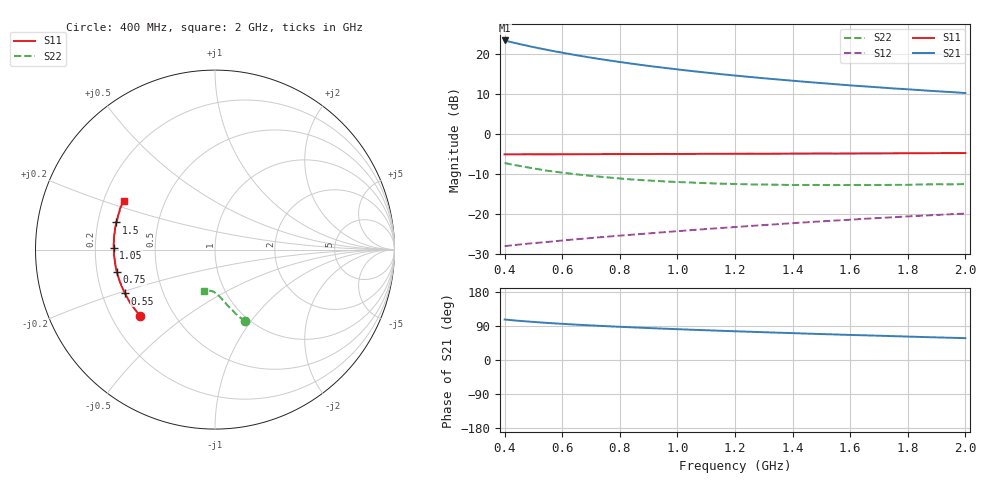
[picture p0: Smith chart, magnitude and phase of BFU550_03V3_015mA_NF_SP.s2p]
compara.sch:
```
<Qucs Schematic 0.0.20>
<Properties>
  <View=0,43,1907,815,1,0,60>
  <Grid=10,10,1>
  <DataSet=compara.dat>
  <DataDisplay=compara.dpl>
  <OpenDisplay=1>
  <Script=compara.m>
  <RunScript=0>
  <showFrame=0>
  <FrameText0=Título>
  <FrameText1=Dibujado por:>
  <FrameText2=Fecha:>
  <FrameText3=Revisión:>
</Properties>
<Symbol>
</Symbol>
<Components>
  <.DC DC1 1 60 310 0 39 0 0 "26.85" 0 "0.001" 0 "1 pA" 0 "1 uV" 0 "no" 0 "150" 0 "no" 0 "none" 0 "CroutLU" 0>
  <Vdc V1 1 570 260 18 -26 0 1 "3.3 V" 1>
  <GND *1 5 570 290 0 0 0 0>
  <GND *2 5 770 490 0 0 0 0>
  <GND *3 5 630 490 0 0 0 0>
  <Vdc V2 1 470 450 18 -26 0 1 "0.86 V" 1>
  <GND *4 5 470 490 0 0 0 0>
  <GND *5 5 340 490 0 0 0 0>
  <IProbe Pr1 1 610 170 -26 16 0 0>
  <BiasT X1 1 470 360 -26 34 0 0 "100 uH" 0 "100 uF" 0>
  <BiasT X2 1 650 360 -26 -53 0 2 "100 uH" 0 "100 uF" 0>
  <.SP SP1 1 60 400 0 63 0 0 "lin" 1 "100 MHz" 1 "3 GHz" 1 "1000" 1 "no" 0 "1" 0 "2" 0 "no" 0 "no" 0>
  <GND *6 5 500 670 0 0 0 0>
  <Pac P4 1 620 700 18 -26 0 1 "4" 1 "50 Ohm" 1 "0 dBm" 0 "1 GHz" 0 "26.85" 0>
  <GND *7 5 620 770 0 0 0 0>
  <Pac P3 1 370 700 18 -26 0 1 "3" 1 "50 Ohm" 1 "0 dBm" 0 "1 GHz" 0 "26.85" 0>
  <GND *8 5 370 770 0 0 0 0>
  <Pac P1 1 340 420 18 -26 0 1 "1" 1 "50 Ohm" 1 "-110 dBm" 0 "1 GHz" 0 "26.85" 0>
  <Pac P2 1 770 420 18 -26 0 1 "2" 1 "50 Ohm" 1 "-100 dBm" 0 "1 GHz" 0 "26.85" 0>
  <Sub SUB1 1 570 390 -26 51 1 2 "BFU550W.sch" 0>
  <SPfile X3 1 500 640 -26 -59 0 0 "BFU550_03V3_015mA_NF_SP.s2p" 1 "rectangular" 0 "linear" 0 "open" 0 "2" 0>
</Components>
<Wires>
  <500 360 540 360 "" 0 0 0 "">
  <600 360 620 360 "" 0 0 0 "">
  <680 360 770 360 "" 0 0 0 "">
  <770 360 770 390 "" 0 0 0 "">
  <770 450 770 490 "" 0 0 0 "">
  <600 420 630 420 "" 0 0 0 "">
  <630 420 630 490 "" 0 0 0 "">
  <470 390 470 420 "" 0 0 0 "">
  <470 480 470 490 "" 0 0 0 "">
  <340 360 440 360 "" 0 0 0 "">
  <340 360 340 390 "" 0 0 0 "">
  <340 450 340 490 "" 0 0 0 "">
  <650 170 650 330 "" 0 0 0 "">
  <640 170 650 170 "" 0 0 0 "">
  <570 170 570 230 "" 0 0 0 "">
  <570 170 580 170 "" 0 0 0 "">
  <530 640 620 640 "" 0 0 0 "">
  <620 640 620 670 "" 0 0 0 "">
  <620 730 620 770 "" 0 0 0 "">
  <370 640 470 640 "" 0 0 0 "">
  <370 640 370 670 "" 0 0 0 "">
  <370 730 370 770 "" 0 0 0 "">
</Wires>
<Diagrams>
  <Smith 240 270 200 200 3 #c0c0c0 1 00 1 0 1 1 1 0 4 1 1 0 1 1 315 0 225 "" "" "" "">
	<"S[1,1]" #0000ff 0 3 0 0 0>
	  <Mkr 8.66366e+08 -101 -207 3 0 0 1>
	<"S[2,2]" #ff0000 0 3 0 0 0>
	  <Mkr 8.28629e+08 211 -200 3 0 0 1>
	<"S[3,3]" #ff00ff 0 3 0 0 0>
	<"S[4,4]" #00ff00 0 3 0 0 0>
  </Smith>
</Diagrams>
<Paintings>
</Paintings>
```
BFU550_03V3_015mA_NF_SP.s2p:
! Filename:  P:\Prog\Test\Noise\ATS_data\Testdata_Net\06 Compressed Noise after Statistics\BFU550_APG2013_43_D05_03p3V_015mA_NF_CM01_D.sf
! Date/Time: Fri 26/Apr/2013 13:07:20
! BFU550_APG2013_43_D05_03p3V_1to35mA_NF_CM01_Bias6_R.sf
! Noise Parameter Data File
! BFU550_APG2013_43_D05_03p3V_1to35mA_NF_CM01
! Date/time: Thu Apr 25 15:07:57 2013
! VAR V_out= 3.300000
! VAR I_out= 14.995000
! VAR V_in= 0.838700
! VAR I_in= 0.169000
! Device data file deembeded for feedlines and parallel
! Original file: \06 Compressed Noise after Statistics\BFU550_APG2013_43_D05_03p3V_015mA_NF_CM01_R.sf
! Feed-files: PR047V01_250413_Feed1.s2p, PR047V01_250413_Feed2.s2p
! Parallel-file: PR047V01_250413_Par.s2p
# MHz S MA R 50
!  Freq-MHz  S11-mag  S11-arg  S21-mag  S21-arg  S12-mag  S12-arg  S22-mag  S22-arg
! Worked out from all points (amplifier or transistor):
!   37 points, 400 MHz to 2 GHz, reference 50 ohm
!   highest |S21| = 23.3 dB at 400 MHz (marker M1)
!   |S21| within 3 dB of that: start of sweep to 596.2 MHz
!   unconditionally stable (mu >= 1): 1.439 GHz to end of sweep
!   at 500 MHz: K = 0.62, MSG = 24.5 dB, |S12| = -27.2 dB
!   at 1.1 GHz: K = 0.93, MSG = 19.5 dB, |S12| = -23.7 dB
!   at 2 GHz: K = 1.06, MAG = 13.5 dB, |S12| = -19.9 dB
!   lowest NFmin = 0.85 dB at 433 MHz
!   S11 on the Smith chart (normalised r, x): 400 MHz: 0.32, -0.34; 550 MHz: 0.30, -0.21; 750 MHz: 0.28, -0.10; 1.05 GHz: 0.28, +0.01; 1.5 GHz: 0.28, +0.12; 2 GHz: 0.28, +0.23
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400  0.5567 -138.5  14.67 106.8  0.03987 47.3  0.4343 -67.1
460  0.5572 -145.4  13.03 102.8  0.04214 47.0  0.3954 -70.5
550  0.5575 -154.0  11.15 97.7  0.04502 47.4  0.3473 -74.2
650  0.5595 -161.3  9.587 93.2  0.04868 48.1  0.3139 -77.9
750  0.5611 -167.2  8.395 89.4  0.0522 49.0  0.289 -80.7
900  0.5615 -174.7  7.06 84.3  0.05753 50.5  0.263 -84.5
1050  0.5641 179.1  6.095 79.8  0.06323 51.7  0.2477 -87.7
1200  0.5661 173.8  5.354 75.8  0.06907 52.5  0.2381 -90.7
1500  0.571 164.6  4.31 68.5  0.0813 53.6  0.2313 -96.2
1750  0.5734 157.8  3.699 62.9  0.0915 53.8  0.2321 -100.8
2000  0.5774 152.0  3.24 57.6  0.1016 53.5  0.2374 -105.0
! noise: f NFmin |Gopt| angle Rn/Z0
400  0.9069  0.2077  -178.3  0.0761
460  0.875  0.2391  -179  0.0658
600  0.882  0.2463  -178.7  0.0655
800  0.9275  0.2741  -174.2  0.0622
1000  0.9648  0.2895  -172.5  0.0607
1200  0.9932  0.3044  -169.6  0.0612
1400  1.024  0.3282  -167.5  0.0555
1600  1.062  0.3419  -164.2  0.0623
1800  1.079  0.3633  -163.9  0.0595
2000  1.118  0.3731  -157  0.0704
